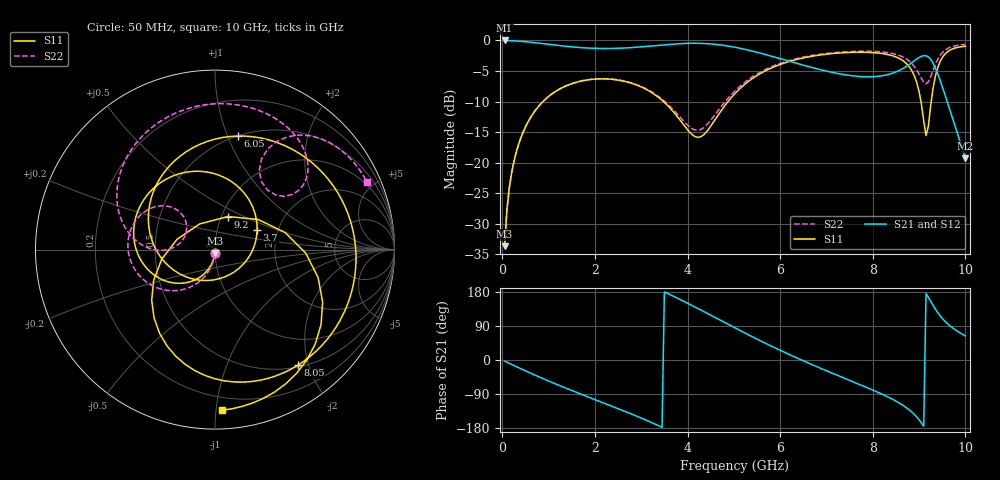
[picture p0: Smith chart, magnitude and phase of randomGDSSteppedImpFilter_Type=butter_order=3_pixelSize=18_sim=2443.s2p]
! freq	dB(S11)	phase(S11)	dB(S12)	phase(S12)
!  dB(S21)	phase(S21)	dB(S22)	phase(S22)
!S-par simulation data
#  GHz  S  DB  R 50
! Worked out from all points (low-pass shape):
!   200 points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, 50 MHz to 10 GHz, reference 50 ohm
!   highest |S21| = -0.01 dB at 50 MHz (marker M1); lowest = -19.3 dB at 10 GHz (marker M2)
!   |S21| within 3 dB of the highest: start of sweep to 6.015 GHz; 8.958 GHz to 9.239 GHz (281.7 MHz wide, 3.1 % of centre)
!   lowest |S11| = -33.7 dB at 50 MHz (marker M3), VSWR 1.04, Z = 49.8 - j2.06 ohm
!   |S11| at or under -10 dB: start of sweep to 879.2 MHz; 3.48 GHz to 4.874 GHz (1.394 GHz wide, 33.4 % of centre); 9.04 GHz to 9.262 GHz (222 MHz wide, 2.43 % of centre)
!   |S22| runs from -33.7 to -0.7 dB; largest |S21 - S12| = 0
!   S11 on the Smith chart (normalised r, x): 50 MHz: 1.00, -0.04; 3.7 GHz: 1.56, +0.37; 6.05 GHz: 0.50, +1.09; 8.05 GHz: 0.53, -1.83; 9.2 GHz: 1.07, +0.41; 10 GHz: 0.11, -1.04
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0.05  -33.67 -93.2  -0.01 -2.9  -0.01 -2.9  -33.66 -92.6
0.2  -21.73 -103.2  -0.05 -11.6  -0.05 -11.6  -21.73 -100.6
0.5  -14.16 -122.3  -0.21 -28.5  -0.21 -28.5  -14.15 -115.8
1.1  -8.60 -158.5  -0.73 -60.5  -0.73 -60.5  -8.58 -143.7
1.75  -6.58 164.4  -1.20 -92.4  -1.20 -92.4  -6.56 -170.3
2.65  -6.72 111.2  -1.24 -135.4  -1.24 -135.4  -6.67 157.4
3.4  -9.48 55.7  -0.78 -174.7  -0.78 -174.7  -9.33 136.0
3.7  -11.73 25.1  -0.60 168.1  -0.60 168.1  -11.41 133.2
4.4  -15.04 -103.6  -0.52 124.7  -0.52 124.7  -13.92 170.4
5.05  -8.49 165.1  -1.16 83.0  -1.16 83.0  -8.08 177.3
6.05  -3.80 78.5  -3.08 22.8  -3.08 22.8  -3.63 145.1
6.7  -2.57 31.5  -4.45 -12.7  -4.45 -12.7  -2.45 121.6
7.35  -2.02 -10.9  -5.56 -46.2  -5.56 -46.2  -1.89 98.0
8.05  -2.02 -54.4  -5.92 -81.9  -5.92 -81.9  -1.81 71.5
8.35  -2.36 -74.6  -5.54 -98.8  -5.54 -98.8  -2.03 59.3
8.7  -3.60 -104.5  -4.38 -123.6  -4.38 -123.6  -2.91 44.0
8.95  -6.90 -141.3  -3.04 -150.5  -3.04 -150.5  -4.86 35.3
9.15  -15.57 120.9  -2.50 175.6  -2.50 175.6  -7.09 48.4
9.2  -14.08 68.6  -2.70 165.4  -2.70 165.4  -6.78 55.5
9.45  -3.52 -26.0  -6.43 117.4  -6.43 117.4  -2.49 57.1
9.7  -1.46 -62.3  -12.19 86.9  -12.19 86.9  -1.04 40.2
10  -0.96 -87.5  -19.30 63.5  -19.30 63.5  -0.66 24.0
